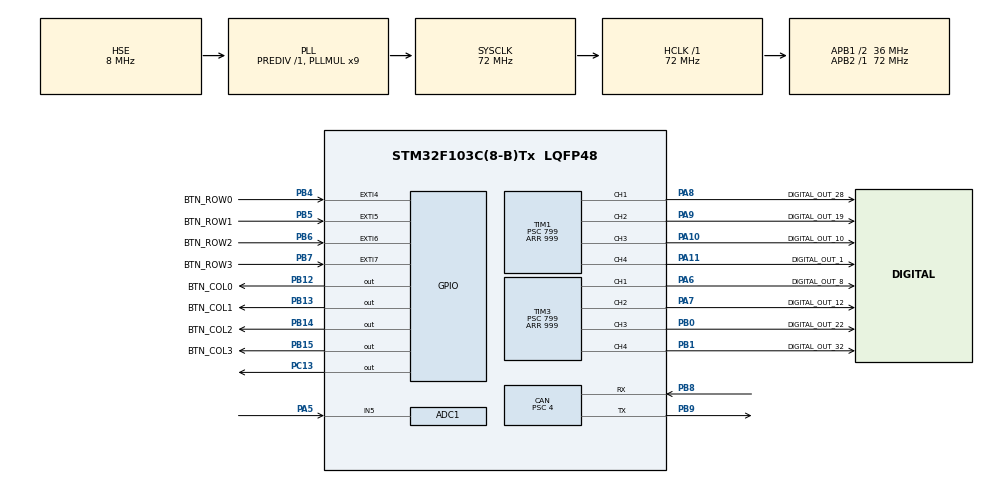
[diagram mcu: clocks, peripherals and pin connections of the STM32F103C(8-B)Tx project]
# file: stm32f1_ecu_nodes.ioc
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Mcu.Family=STM32F1
SH.S_TIM1_CH4.0=TIM1_CH4,PWM Generation4 CH4
ADC1.ContinuousConvMode=ENABLE
PB4.GPIO_ModeDefaultEXTI=GPIO_MODE_IT_FALLING
PB14.GPIO_Label=BTN_COL2
PB6.GPIO_ModeDefaultEXTI=GPIO_MODE_IT_FALLING
PA6.GPIO_Label=DIGITAL_OUT_8
PB0.GPIO_Label=DIGITAL_OUT_22
PB6.GPIO_Label=BTN_ROW2
PB13.GPIO_Label=BTN_COL1
PB7.GPIO_ModeDefaultEXTI=GPIO_MODE_IT_FALLING
PB13.Signal=GPIO_Output
PB15.Signal=GPIO_Output
TIM3.Channel-PWM\ Generation4\ CH4=TIM_CHANNEL_4
RCC.SYSCLKSource=RCC_SYSCLKSOURCE_PLLCLK
ProjectManager.StackSize=0x400
VP_FREERTOS_VS_CMSIS_V2.Mode=CMSIS_V2
PD1-OSC_OUT.Signal=RCC_OSC_OUT
CAN.Prescaler=4
TIM1.Prescaler=799
TIM1.Channel-PWM\ Generation4\ CH4=TIM_CHANNEL_4
ADC1.Channel-3\#ChannelRegularConversion=ADC_CHANNEL_5
RCC.HCLKFreq_Value=72000000
RCC.APB2TimFreq_Value=72000000
TIM3.Period=999
PB6.Signal=GPXTI6
Dma.ADC1.0.Direction=DMA_PERIPH_TO_MEMORY
FREERTOS.configUSE_MALLOC_FAILED_HOOK=1
Dma.ADC1.0.MemDataAlignment=DMA_MDATAALIGN_HALFWORD
RCC.AHBFreq_Value=72000000
TIM3.Channel-PWM\ Generation1\ CH1=TIM_CHANNEL_1
RCC.PLLMUL=RCC_PLL_MUL9
PB12.GPIO_Label=BTN_COL0
TIM1.Channel-PWM\ Generation1\ CH1=TIM_CHANNEL_1
PA14.Mode=Serial_Wire
TIM3.Prescaler=799
PB1.GPIO_Label=DIGITAL_OUT_32
Dma.ADC1.0.PeriphInc=DMA_PINC_DISABLE
CAN.NART=ENABLE
PA10.GPIO_Label=DIGITAL_OUT_10
PB7.Signal=GPXTI7
PA8.Signal=S_TIM1_CH1
SH.S_TIM3_CH1.0=TIM3_CH1,PWM Generation1 CH1
CAN.CalculateTimeQuantum=111.11111111111111
VP_TIM1_VS_ClockSourceINT.Mode=Internal
FREERTOS.configTOTAL_HEAP_SIZE=10000
PB7.GPIO_Label=BTN_ROW3
Mcu.Package=LQFP48
PB9.Signal=CAN_TX
PB1.Signal=S_TIM3_CH4
PA6.Signal=S_TIM3_CH1
NVIC.TimeBase=TIM4_IRQn
NVIC.TimeBaseIP=TIM4
PA10.Signal=S_TIM1_CH3
PB5.GPIO_Label=BTN_ROW1
RCC.APB1TimFreq_Value=72000000
TIM1.Period=999
FREERTOS.configMAX_TASK_NAME_LEN=32
Dma.Request0=ADC1
VP_TIM3_VS_ClockSourceINT.Mode=Internal
PB4.Signal=GPXTI4
PB5.GPIO_ModeDefaultEXTI=GPIO_MODE_IT_FALLING
PB7.GPIO_PuPd=GPIO_PULLUP
RCC.PLLSourceVirtual=RCC_PLLSOURCE_HSE
NVIC.EXTI4_IRQn=true\:5\:0\:false\:false\:true\:true\:true\:true
Dma.ADC1.0.Instance=DMA1_Channel1
FREERTOS.Tasks01=CANRxHandlerTask,24,128,CANRxHandler,Default,NULL,Dynamic,NULL,NULL;CANTxHandlerTask,24,128,CANTxHandler,Default,NULL,Dynamic,NULL,NULL
PD1-OSC_OUT.Mode=HSE-External-Oscillator
CAN.ABOM=DISABLE
CAN.CalculateBaudRate=1000000
PA9.GPIO_Label=DIGITAL_OUT_19
PB6.GPIO_PuPd=GPIO_PULLUP
PB8.GPIO_PuPd=GPIO_PULLUP
PC13-TAMPER-RTC.Signal=GPIO_Output
PA11.GPIO_Label=DIGITAL_OUT_1
PD0-OSC_IN.Signal=RCC_OSC_IN
RCC.APB1CLKDivider=RCC_HCLK_DIV2
SH.S_TIM3_CH3.0=TIM3_CH3,PWM Generation3 CH3
CAN.CalculateTimeBit=999.99
RCC.ADCPresc=RCC_ADCPCLK2_DIV6
PA13.Signal=SYS_JTMS-SWDIO
TIM3.Channel-PWM\ Generation3\ CH3=TIM_CHANNEL_3
Dma.ADC1.0.PeriphDataAlignment=DMA_PDATAALIGN_HALFWORD
CAN.BS2=CAN_BS2_3TQ
PA8.GPIO_Label=DIGITAL_OUT_28
CAN.BS1=CAN_BS1_5TQ
SH.S_TIM1_CH1.0=TIM1_CH1,PWM Generation1 CH1
ProjectManager.TargetToolchain=STM32CubeIDE
Dma.ADC1.0.Mode=DMA_CIRCULAR
PB9.Mode=CAN_Activate
Dma.ADC1.0.Priority=DMA_PRIORITY_LOW
PA9.Signal=S_TIM1_CH2
TIM1.Channel-PWM\ Generation2\ CH2=TIM_CHANNEL_2
PB4.GPIO_PuPd=GPIO_PULLUP
RCC.USBFreq_Value=72000000
CAN.Mode=CAN_MODE_NORMAL
PD0-OSC_IN.Mode=HSE-External-Oscillator
PB14.Signal=GPIO_Output
PA5.Signal=ADCx_IN5
SH.S_TIM3_CH2.0=TIM3_CH2,PWM Generation2 CH2
board=custom
RCC.APB2Freq_Value=72000000
PB4.GPIO_Label=BTN_ROW0
PB15.GPIO_Label=BTN_COL3
SH.S_TIM1_CH2.0=TIM1_CH2,PWM Generation2 CH2
NVIC.USB_LP_CAN1_RX0_IRQn=true\:5\:0\:false\:false\:true\:true\:true\:true
PA13.Mode=Serial_Wire
Mcu.Name=STM32F103C(8-B)Tx
RCC.SYSCLKFreq_VALUE=72000000
PB5.Signal=GPXTI5
PA7.GPIO_Label=DIGITAL_OUT_12
ADC1.master=1
ADC1.Rank-3\#ChannelRegularConversion=1
ADC1.SamplingTime-3\#ChannelRegularConversion=ADC_SAMPLETIME_239CYCLES_5
PB5.GPIO_PuPd=GPIO_PULLUP
PA11.Signal=S_TIM1_CH4
NVIC.EXTI9_5_IRQn=true\:5\:0\:false\:false\:true\:true\:true\:true
PA14.Signal=SYS_JTCK-SWCLK
Dma.ADC1.0.MemInc=DMA_MINC_ENABLE
ProjectManager.HeapSize=0x200
SH.S_TIM1_CH3.0=TIM1_CH3,PWM Generation3 CH3
VP_SYS_VS_tim4.Mode=TIM4
SH.ADCx_IN5.0=ADC1_IN5,IN5
NVIC.PriorityGroup=NVIC_PRIORITYGROUP_4
ADC1.NbrOfConversionFlag=1
TIM3.Channel-PWM\ Generation2\ CH2=TIM_CHANNEL_2
PB8.Mode=CAN_Activate
PB8.Signal=CAN_RX
NVIC.DMA1_Channel1_IRQn=true\:5\:0\:false\:false\:true\:true\:false\:true
TIM1.Channel-PWM\ Generation3\ CH3=TIM_CHANNEL_3
NVIC.TIM4_IRQn=true\:0\:0\:false\:false\:true\:false\:false\:true
RCC.APB1Freq_Value=36000000
PB0.Signal=S_TIM3_CH3
PB12.Signal=GPIO_Output
SH.S_TIM3_CH4.0=TIM3_CH4,PWM Generation4 CH4
PA7.Signal=S_TIM3_CH2

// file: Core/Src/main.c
/* USER CODE BEGIN Header */
/**
  ******************************************************************************
  * @file           : main.c
  * @brief          : Main program body
  ******************************************************************************
  * @attention
  *
  * <h2><center>&copy; Copyright (c) 2025 STMicroelectronics.
  * All rights reserved.</center></h2>
  *
  * This software component is licensed by ST under BSD 3-Clause license,
  * the "License"; You may not use this file except in compliance with the
  * License. You may obtain a copy of the License at:
  *                        opensource.org/licenses/BSD-3-Clause
  *
  ******************************************************************************
  */
/* USER CODE END Header */
#include "main.h"
#include "cmsis_os.h"

/* USER CODE BEGIN Includes */
#include "button.h"
#include "can.h"
#include <stdbool.h>
#include <string.h>
/* USER CODE END Includes */

ADC_HandleTypeDef hadc1;
DMA_HandleTypeDef hdma_adc1;

CAN_HandleTypeDef hcan;

TIM_HandleTypeDef htim1;
TIM_HandleTypeDef htim3;

/* Definitions for CANRxHandlerTask */
osThreadId_t CANRxHandlerTaskHandle;
const osThreadAttr_t CANRxHandlerTask_attributes = {
  .name = "CANRxHandlerTask",
  .stack_size = 128 * 4,
  .priority = (osPriority_t) osPriorityNormal,
};
/* Definitions for CANTxHandlerTask */
osThreadId_t CANTxHandlerTaskHandle;
const osThreadAttr_t CANTxHandlerTask_attributes = {
  .name = "CANTxHandlerTask",
  .stack_size = 128 * 4,
  .priority = (osPriority_t) osPriorityNormal,
};
/* USER CODE BEGIN PV */
uint16_t potentiometer[TEN] = {0};

CAN_Frame canTxQueue[CAN_TX_QUEUE_SIZE];

volatile DigitalOutput_Resp_Frame digital_output_data[NUMBER_OF_DIG_OUT_RES_FRAME] = {0};
volatile DigitalInput_Resp_Frame digital_input_data[NUMBER_OF_DIG_IN_RES_FRAME] = {0};
volatile DigitalOutput_Cmd_Frame digital_output_cmd_data[NUMBER_OF_DIG_OUT_CMD_FRAME] = {0};
volatile AnalogInput_Resp_Frame analog_input_data[NUMBER_OF_ANALOG_IN_RES_FRAME] = {0};

CAN_RxFrame can_rx_frame;

/* USER CODE END PV */

void SystemClock_Config(void);
static void MX_GPIO_Init(void);
static void MX_DMA_Init(void);
static void MX_CAN_Init(void);
static void MX_ADC1_Init(void);
static void MX_TIM1_Init(void);
static void MX_TIM3_Init(void);
void CANRxHandler(void *argument);
void CANTxHandler(void *argument);

/* USER CODE BEGIN PFP */
/**
  * @brief  Process Digital Output Commands
  * @param  cmd_data: Pointer to the Digital Output Command Frame
  *                                   containing the commands to process
  * @retval None
  */
void digital_output_process(DigitalOutput_Cmd_Frame *cmd_data);

/* USER CODE END PFP */

/* USER CODE BEGIN 0 */
void HAL_CAN_RxFifo0MsgPendingCallback(CAN_HandleTypeDef *hcan) {
  HAL_CAN_GetRxMessage(hcan, CAN_RX_FIFO0, &can_rx_frame.header, can_rx_frame.data);
  // Process received CAN message
  CAN_process_command(&can_rx_frame, digital_output_cmd_data);
}

/* USER CODE END 0 */

int main(void)
{

  /* MCU Configuration--------------------------------------------------------*/

  /* Reset of all peripherals, Initializes the Flash interface and the Systick. */
  HAL_Init();

  /* Configure the system clock */
  SystemClock_Config();

  /* Initialize all configured peripherals */
  MX_GPIO_Init();
  MX_DMA_Init();
  MX_CAN_Init();
  MX_ADC1_Init();
  MX_TIM1_Init();
  MX_TIM3_Init();
  /* USER CODE BEGIN 2 */
  HAL_TIM_PWM_Start(&htim1, TIM_CHANNEL_1);
  HAL_TIM_PWM_Start(&htim1, TIM_CHANNEL_2);
  HAL_TIM_PWM_Start(&htim1, TIM_CHANNEL_3);
  HAL_TIM_PWM_Start(&htim1, TIM_CHANNEL_4);
  HAL_TIM_PWM_Start(&htim3, TIM_CHANNEL_1);
  HAL_TIM_PWM_Start(&htim3, TIM_CHANNEL_2);
  HAL_TIM_PWM_Start(&htim3, TIM_CHANNEL_3);
  HAL_TIM_PWM_Start(&htim3, TIM_CHANNEL_4);

  HAL_CAN_Start(&hcan);
  HAL_CAN_ActivateNotification(&hcan, CAN_IT_RX_FIFO0_MSG_PENDING);

  HAL_ADC_Start_DMA(&hadc1, (uint32_t *)potentiometer, TEN);

  /* USER CODE END 2 */

  /* Init scheduler */
  osKernelInitialize();

  /* Create the thread(s) */
  /* creation of CANRxHandlerTask */
  CANRxHandlerTaskHandle = osThreadNew(CANRxHandler, NULL, &CANRxHandlerTask_attributes);

  /* creation of CANTxHandlerTask */
  CANTxHandlerTaskHandle = osThreadNew(CANTxHandler, NULL, &CANTxHandlerTask_attributes);

  /* Start scheduler */
  osKernelStart();

  /* We should never get here as control is now taken by the scheduler */
  /* Infinite loop */
  while (1)
  {

  }
}

void SystemClock_Config(void)
{
  RCC_OscInitTypeDef RCC_OscInitStruct = {0};
  RCC_ClkInitTypeDef RCC_ClkInitStruct = {0};
  RCC_PeriphCLKInitTypeDef PeriphClkInit = {0};

  /** Initializes the RCC Oscillators according to the specified parameters
  * in the RCC_OscInitTypeDef structure.
  */
  RCC_OscInitStruct.OscillatorType = RCC_OSCILLATORTYPE_HSE;
  RCC_OscInitStruct.HSEState = RCC_HSE_ON;
  RCC_OscInitStruct.HSEPredivValue = RCC_HSE_PREDIV_DIV1;
  RCC_OscInitStruct.HSIState = RCC_HSI_ON;
  RCC_OscInitStruct.PLL.PLLState = RCC_PLL_ON;
  RCC_OscInitStruct.PLL.PLLSource = RCC_PLLSOURCE_HSE;
  RCC_OscInitStruct.PLL.PLLMUL = RCC_PLL_MUL9;
  if (HAL_RCC_OscConfig(&RCC_OscInitStruct) != HAL_OK)
  {
    Error_Handler();
  }
  /** Initializes the CPU, AHB and APB buses clocks
  */
  RCC_ClkInitStruct.ClockType = RCC_CLOCKTYPE_HCLK|RCC_CLOCKTYPE_SYSCLK
                              |RCC_CLOCKTYPE_PCLK1|RCC_CLOCKTYPE_PCLK2;
  RCC_ClkInitStruct.SYSCLKSource = RCC_SYSCLKSOURCE_PLLCLK;
  RCC_ClkInitStruct.AHBCLKDivider = RCC_SYSCLK_DIV1;
  RCC_ClkInitStruct.APB1CLKDivider = RCC_HCLK_DIV2;
  RCC_ClkInitStruct.APB2CLKDivider = RCC_HCLK_DIV1;

  if (HAL_RCC_ClockConfig(&RCC_ClkInitStruct, FLASH_LATENCY_2) != HAL_OK)
  {
    Error_Handler();
  }
  PeriphClkInit.PeriphClockSelection = RCC_PERIPHCLK_ADC;
  PeriphClkInit.AdcClockSelection = RCC_ADCPCLK2_DIV6;
  if (HAL_RCCEx_PeriphCLKConfig(&PeriphClkInit) != HAL_OK)
  {
    Error_Handler();
  }
}

static void MX_ADC1_Init(void)
{

  ADC_ChannelConfTypeDef sConfig = {0};

  /** Common config
  */
  hadc1.Instance = ADC1;
  hadc1.Init.ScanConvMode = ADC_SCAN_DISABLE;
  hadc1.Init.ContinuousConvMode = ENABLE;
  hadc1.Init.DiscontinuousConvMode = DISABLE;
  hadc1.Init.ExternalTrigConv = ADC_SOFTWARE_START;
  hadc1.Init.DataAlign = ADC_DATAALIGN_RIGHT;
  hadc1.Init.NbrOfConversion = 1;
  if (HAL_ADC_Init(&hadc1) != HAL_OK)
  {
    Error_Handler();
  }
  /** Configure Regular Channel
  */
  sConfig.Channel = ADC_CHANNEL_5;
  sConfig.Rank = ADC_REGULAR_RANK_1;
  sConfig.SamplingTime = ADC_SAMPLETIME_239CYCLES_5;
  if (HAL_ADC_ConfigChannel(&hadc1, &sConfig) != HAL_OK)
  {
    Error_Handler();
  }

}

static void MX_CAN_Init(void)
{

  hcan.Instance = CAN1;
  hcan.Init.Prescaler = 4;
  hcan.Init.Mode = CAN_MODE_NORMAL;
  hcan.Init.SyncJumpWidth = CAN_SJW_1TQ;
  hcan.Init.TimeSeg1 = CAN_BS1_5TQ;
  hcan.Init.TimeSeg2 = CAN_BS2_3TQ;
  hcan.Init.TimeTriggeredMode = DISABLE;
  hcan.Init.AutoBusOff = DISABLE;
  hcan.Init.AutoWakeUp = DISABLE;
  hcan.Init.AutoRetransmission = ENABLE;
  hcan.Init.ReceiveFifoLocked = DISABLE;
  hcan.Init.TransmitFifoPriority = DISABLE;
  if (HAL_CAN_Init(&hcan) != HAL_OK)
  {
    Error_Handler();
  }
  /* USER CODE BEGIN CAN_Init 2 */
  CAN_FilterTypeDef canfilterconfig;

  canfilterconfig.FilterActivation = CAN_FILTER_ENABLE;
  canfilterconfig.FilterBank = 10;  // anything between 0 to SlaveStartFilterBank
  canfilterconfig.FilterFIFOAssignment = CAN_FILTER_FIFO0;
  canfilterconfig.FilterIdHigh = 0;
  canfilterconfig.FilterIdLow = 0x0000;
  canfilterconfig.FilterMaskIdHigh = 0;
  canfilterconfig.FilterMaskIdLow = 0x0000;
  canfilterconfig.FilterMode = CAN_FILTERMODE_IDMASK;
  canfilterconfig.FilterScale = CAN_FILTERSCALE_32BIT;
  canfilterconfig.SlaveStartFilterBank = 13;  // 13 to 27 are assigned to slave CAN (CAN 2) OR 0 to 12 are assgned to CAN1

  HAL_CAN_ConfigFilter(&hcan, &canfilterconfig);
  /* USER CODE END CAN_Init 2 */

}

static void MX_TIM1_Init(void)
{

  TIM_ClockConfigTypeDef sClockSourceConfig = {0};
  TIM_MasterConfigTypeDef sMasterConfig = {0};
  TIM_OC_InitTypeDef sConfigOC = {0};
  TIM_BreakDeadTimeConfigTypeDef sBreakDeadTimeConfig = {0};

  htim1.Instance = TIM1;
  htim1.Init.Prescaler = 799;
  htim1.Init.CounterMode = TIM_COUNTERMODE_UP;
  htim1.Init.Period = 999;
  htim1.Init.ClockDivision = TIM_CLOCKDIVISION_DIV1;
  htim1.Init.RepetitionCounter = 0;
  htim1.Init.AutoReloadPreload = TIM_AUTORELOAD_PRELOAD_DISABLE;
  if (HAL_TIM_Base_Init(&htim1) != HAL_OK)
  {
    Error_Handler();
  }
  sClockSourceConfig.ClockSource = TIM_CLOCKSOURCE_INTERNAL;
  if (HAL_TIM_ConfigClockSource(&htim1, &sClockSourceConfig) != HAL_OK)
  {
    Error_Handler();
  }
  if (HAL_TIM_PWM_Init(&htim1) != HAL_OK)
  {
    Error_Handler();
  }
  sMasterConfig.MasterOutputTrigger = TIM_TRGO_RESET;
  sMasterConfig.MasterSlaveMode = TIM_MASTERSLAVEMODE_DISABLE;
  if (HAL_TIMEx_MasterConfigSynchronization(&htim1, &sMasterConfig) != HAL_OK)
  {
    Error_Handler();
  }
  sConfigOC.OCMode = TIM_OCMODE_PWM1;
  sConfigOC.Pulse = 0;
  sConfigOC.OCPolarity = TIM_OCPOLARITY_HIGH;
  sConfigOC.OCNPolarity = TIM_OCNPOLARITY_HIGH;
  sConfigOC.OCFastMode = TIM_OCFAST_DISABLE;
  sConfigOC.OCIdleState = TIM_OCIDLESTATE_RESET;
  sConfigOC.OCNIdleState = TIM_OCNIDLESTATE_RESET;
  if (HAL_TIM_PWM_ConfigChannel(&htim1, &sConfigOC, TIM_CHANNEL_1) != HAL_OK)
  {
    Error_Handler();
  }
  if (HAL_TIM_PWM_ConfigChannel(&htim1, &sConfigOC, TIM_CHANNEL_2) != HAL_OK)
  {
    Error_Handler();
  }
  if (HAL_TIM_PWM_ConfigChannel(&htim1, &sConfigOC, TIM_CHANNEL_3) != HAL_OK)
  {
    Error_Handler();
  }
  if (HAL_TIM_PWM_ConfigChannel(&htim1, &sConfigOC, TIM_CHANNEL_4) != HAL_OK)
  {
    Error_Handler();
  }
  sBreakDeadTimeConfig.OffStateRunMode = TIM_OSSR_DISABLE;
  sBreakDeadTimeConfig.OffStateIDLEMode = TIM_OSSI_DISABLE;
  sBreakDeadTimeConfig.LockLevel = TIM_LOCKLEVEL_OFF;
  sBreakDeadTimeConfig.DeadTime = 0;
  sBreakDeadTimeConfig.BreakState = TIM_BREAK_DISABLE;
  sBreakDeadTimeConfig.BreakPolarity = TIM_BREAKPOLARITY_HIGH;
  sBreakDeadTimeConfig.AutomaticOutput = TIM_AUTOMATICOUTPUT_DISABLE;
  if (HAL_TIMEx_ConfigBreakDeadTime(&htim1, &sBreakDeadTimeConfig) != HAL_OK)
  {
    Error_Handler();
  }
  HAL_TIM_MspPostInit(&htim1);

}

static void MX_TIM3_Init(void)
{

  TIM_ClockConfigTypeDef sClockSourceConfig = {0};
  TIM_MasterConfigTypeDef sMasterConfig = {0};
  TIM_OC_InitTypeDef sConfigOC = {0};

  htim3.Instance = TIM3;
  htim3.Init.Prescaler = 799;
  htim3.Init.CounterMode = TIM_COUNTERMODE_UP;
  htim3.Init.Period = 999;
  htim3.Init.ClockDivision = TIM_CLOCKDIVISION_DIV1;
  htim3.Init.AutoReloadPreload = TIM_AUTORELOAD_PRELOAD_DISABLE;
  if (HAL_TIM_Base_Init(&htim3) != HAL_OK)
  {
    Error_Handler();
  }
  sClockSourceConfig.ClockSource = TIM_CLOCKSOURCE_INTERNAL;
  if (HAL_TIM_ConfigClockSource(&htim3, &sClockSourceConfig) != HAL_OK)
  {
    Error_Handler();
  }
  if (HAL_TIM_PWM_Init(&htim3) != HAL_OK)
  {
    Error_Handler();
  }
  sMasterConfig.MasterOutputTrigger = TIM_TRGO_RESET;
  sMasterConfig.MasterSlaveMode = TIM_MASTERSLAVEMODE_DISABLE;
  if (HAL_TIMEx_MasterConfigSynchronization(&htim3, &sMasterConfig) != HAL_OK)
  {
    Error_Handler();
  }
  sConfigOC.OCMode = TIM_OCMODE_PWM1;
  sConfigOC.Pulse = 0;
  sConfigOC.OCPolarity = TIM_OCPOLARITY_HIGH;
  sConfigOC.OCFastMode = TIM_OCFAST_DISABLE;
  if (HAL_TIM_PWM_ConfigChannel(&htim3, &sConfigOC, TIM_CHANNEL_1) != HAL_OK)
  {
    Error_Handler();
  }
  if (HAL_TIM_PWM_ConfigChannel(&htim3, &sConfigOC, TIM_CHANNEL_2) != HAL_OK)
  {
    Error_Handler();
  }
  if (HAL_TIM_PWM_ConfigChannel(&htim3, &sConfigOC, TIM_CHANNEL_3) != HAL_OK)
  {
    Error_Handler();
  }
  if (HAL_TIM_PWM_ConfigChannel(&htim3, &sConfigOC, TIM_CHANNEL_4) != HAL_OK)
  {
    Error_Handler();
  }
  HAL_TIM_MspPostInit(&htim3);

}

static void MX_DMA_Init(void)
{

  /* DMA controller clock enable */
  __HAL_RCC_DMA1_CLK_ENABLE();

  /* DMA interrupt init */
  /* DMA1_Channel1_IRQn interrupt configuration */
  HAL_NVIC_SetPriority(DMA1_Channel1_IRQn, 5, 0);
  HAL_NVIC_EnableIRQ(DMA1_Channel1_IRQn);

}

static void MX_GPIO_Init(void)
{
  GPIO_InitTypeDef GPIO_InitStruct = {0};

  /* GPIO Ports Clock Enable */
  __HAL_RCC_GPIOC_CLK_ENABLE();
  __HAL_RCC_GPIOD_CLK_ENABLE();
  __HAL_RCC_GPIOA_CLK_ENABLE();
  __HAL_RCC_GPIOB_CLK_ENABLE();

  /*Configure GPIO pin Output Level */
  HAL_GPIO_WritePin(GPIOC, GPIO_PIN_13, GPIO_PIN_RESET);

  /*Configure GPIO pin Output Level */
  HAL_GPIO_WritePin(GPIOB, BTN_COL0_Pin|BTN_COL1_Pin|BTN_COL2_Pin|BTN_COL3_Pin, GPIO_PIN_RESET);

  /*Configure GPIO pin : PC13 */
  GPIO_InitStruct.Pin = GPIO_PIN_13;
  GPIO_InitStruct.Mode = GPIO_MODE_OUTPUT_PP;
  GPIO_InitStruct.Pull = GPIO_NOPULL;
  GPIO_InitStruct.Speed = GPIO_SPEED_FREQ_LOW;
  HAL_GPIO_Init(GPIOC, &GPIO_InitStruct);

  /*Configure GPIO pins : BTN_COL0_Pin BTN_COL1_Pin BTN_COL2_Pin BTN_COL3_Pin */
  GPIO_InitStruct.Pin = BTN_COL0_Pin|BTN_COL1_Pin|BTN_COL2_Pin|BTN_COL3_Pin;
  GPIO_InitStruct.Mode = GPIO_MODE_OUTPUT_PP;
  GPIO_InitStruct.Pull = GPIO_NOPULL;
  GPIO_InitStruct.Speed = GPIO_SPEED_FREQ_LOW;
  HAL_GPIO_Init(GPIOB, &GPIO_InitStruct);

  /*Configure GPIO pins : BTN_ROW0_Pin BTN_ROW1_Pin BTN_ROW2_Pin BTN_ROW3_Pin */
  GPIO_InitStruct.Pin = BTN_ROW0_Pin|BTN_ROW1_Pin|BTN_ROW2_Pin|BTN_ROW3_Pin;
  GPIO_InitStruct.Mode = GPIO_MODE_IT_FALLING;
  GPIO_InitStruct.Pull = GPIO_PULLUP;
  HAL_GPIO_Init(GPIOB, &GPIO_InitStruct);

  /* EXTI interrupt init*/
  HAL_NVIC_SetPriority(EXTI4_IRQn, 5, 0);
  HAL_NVIC_EnableIRQ(EXTI4_IRQn);

  HAL_NVIC_SetPriority(EXTI9_5_IRQn, 5, 0);
  HAL_NVIC_EnableIRQ(EXTI9_5_IRQn);

}

/* USER CODE BEGIN 4 */
/**
  * @brief  Process Digital Output Commands
  * @param  cmd_data: Pointer to the Digital Output Command Frame
  *                                   containing the commands to process
  * @retval None
  */
void digital_output_process(DigitalOutput_Cmd_Frame *cmd_data) {
  // Digital Output 1
  if (cmd_data[0].signal[0].switchCmd == 1) {
    TIM1->CCR4 = (cmd_data[0].signal[0].dutyCycle * 10U) - 1U;
  } else {
    TIM1->CCR4 = 0;
  }

  // Digital Output 10
  if (cmd_data[1].signal[1].switchCmd == 1) {
    TIM1->CCR3 = (cmd_data[1].signal[1].dutyCycle * 10U) - 1U;
  } else {
    TIM1->CCR3 = 0;
  }

  // Digital Output 19
  if (cmd_data[2].signal[2].switchCmd == 1) {
    TIM1->CCR2 = (cmd_data[2].signal[2].dutyCycle * 10U) - 1U;
  } else {
    TIM1->CCR2 = 0;
  }

  // Digital Output 28
  if (cmd_data[3].signal[3].switchCmd == 1) {
    TIM1->CCR1 = (cmd_data[3].signal[3].dutyCycle * 10U) - 1U;
  } else {
    TIM1->CCR1 = 0;
  }

  // Digital Output 8
  // if (cmd_data[0].signal[7].switchCmd == 1) {
  //   TIM3->CCR1 = (cmd_data[0].signal[7].dutyCycle * 10U) - 1U;
  // } else {
  //   TIM3->CCR1 = 0;
  // }

  // Digital Output 12
  if (cmd_data[1].signal[3].switchCmd == 1) {
    TIM3->CCR2 = (cmd_data[1].signal[3].dutyCycle * 10U) - 1U;
  } else {
    TIM3->CCR2 = 0;
  }

  // Digital Output 22
  if (cmd_data[2].signal[5].switchCmd == 1) {
    TIM3->CCR3 = (cmd_data[2].signal[5].dutyCycle * 10U) - 1U;
  } else {
    TIM3->CCR3 = 0;
  }

  // Digital Output 32
  if (cmd_data[3].signal[7].switchCmd == 1) {
    TIM3->CCR4 = (cmd_data[3].signal[7].dutyCycle * 10U) - 1U;
  } else {
    TIM3->CCR4 = 0;
  }
}
/* USER CODE END 4 */

void CANRxHandler(void *argument)
{
  /* USER CODE BEGIN 5 */

  btn_matrix_init();
  TIM3->CCR1 = 999; // Initialize PWM duty cycle to 999
  /* Infinite loop */
  for(;;)
  {
    // Process button matrix input
    btn_matrix_process(digital_input_data);
    // Process Digital Output Commands immediately
    digital_output_process(digital_output_cmd_data);

  }
  /* USER CODE END 5 */
}

void CANTxHandler(void *argument)
{
  /* USER CODE BEGIN CANTxHandler */

  // Initialize default values for Digital Output Response
  for (uint8_t i = 0; i < NUMBER_OF_DIG_OUT_RES_FRAME; i++) {
    for (uint8_t j = 0; j < DIGITAL_OUT_RESP_SIGNAL_PER_FRAME; j++) {
      digital_output_data[i].signal[j].statusPS = 0; // Off
      digital_output_data[i].signal[j].elDiagnosis = 0; // OK
      digital_output_data[i].signal[j].currentFB = 5; // 10mA
    }
  }

  // Initialize Digital Input Response Frame
  for (uint8_t i = 0; i < NUMBER_OF_DIG_IN_RES_FRAME; i++) {
    for (uint8_t j = 0; j < DIGITAL_IN_RESP_SIGNAL_PER_FRAME; j++) {
      digital_input_data[i].signal[j].inputStatus = 0; // Off
      digital_input_data[i].signal[j].freshness = 0;
      digital_input_data[i].signal[j].elDiagnosis = 0; // OK
    }
  }

  /* Infinite loop */
  for(;;)
  {
    CAN_Frame tx_frame;
    uint32_t potentiometer_value = 0;

    // Prepare Digital Output Response Frame
    for (uint8_t i = 0; i < NUMBER_OF_DIG_OUT_RES_FRAME; i++) {
      tx_frame.id = DIGITAL_OUTPUT_RES_ID(i);
      memcpy(tx_frame.data, &digital_output_data[i].sdu, sizeof(digital_output_data[i].sdu));
      CAN_EnqueueTxFrame(&tx_frame, canTxQueue);
    }

    // Prepare Digital Input Response Frame
    for (uint8_t i = 0; i < NUMBER_OF_DIG_IN_RES_FRAME; i++) {
      for (uint8_t j = 0; j < DIGITAL_IN_RESP_SIGNAL_PER_FRAME; j++) {
        digital_input_data[i].signal[j].freshness++;
      }
    }
    for (uint8_t i = 0; i < NUMBER_OF_DIG_IN_RES_FRAME; i++){
      tx_frame.id = DIGITAL_INPUT_RES_ID(i);
      memcpy(tx_frame.data, &digital_input_data[i].sdu, sizeof(digital_input_data[i].sdu));
      CAN_EnqueueTxFrame(&tx_frame, canTxQueue);
    }

    // Prepare Analog Input Response Frame
    for (uint8_t i = 0; i < TEN; i++) {
      potentiometer_value += potentiometer[i];
    }
    potentiometer_value /= TEN;
    analog_input_data[0].signal[0].analogValue = potentiometer_value;
    for (uint8_t i = 0; i < NUMBER_OF_ANALOG_IN_RES_FRAME; i++) {
      tx_frame.id = ANALOG_INPUT_RES_ID(i);
      memcpy(tx_frame.data, &analog_input_data[i].sdu, sizeof(analog_input_data[i].sdu));
      CAN_EnqueueTxFrame(&tx_frame, canTxQueue);
    }

    CAN_send(&hcan, canTxQueue);

    osDelay(50);
  }
  /* USER CODE END CANTxHandler */
}

 /**
  * @brief  Period elapsed callback in non blocking mode
  * @note   This function is called  when TIM4 interrupt took place, inside
  * HAL_TIM_IRQHandler(). It makes a direct call to HAL_IncTick() to increment
  * a global variable "uwTick" used as application time base.
  * @param  htim : TIM handle
  * @retval None
  */
void HAL_TIM_PeriodElapsedCallback(TIM_HandleTypeDef *htim)
{
  if (htim->Instance == TIM4) {
    HAL_IncTick();
  }
}

void Error_Handler(void)
{
  __disable_irq();
  while (1)
  {
  }
}

/************************ (C) COPYRIGHT STMicroelectronics *****END OF FILE****/

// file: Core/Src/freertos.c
/* USER CODE BEGIN Header */
/**
  ******************************************************************************
  * File Name          : freertos.c
  * Description        : Code for freertos applications
  ******************************************************************************
  * @attention
  *
  * <h2><center>&copy; Copyright (c) 2025 STMicroelectronics.
  * All rights reserved.</center></h2>
  *
  * This software component is licensed by ST under Ultimate Liberty license
  * SLA0044, the "License"; You may not use this file except in compliance with
  * the License. You may obtain a copy of the License at:
  *                             www.st.com/SLA0044
  *
  ******************************************************************************
  */
/* USER CODE END Header */

#include "FreeRTOS.h"
#include "task.h"
#include "main.h"

/* Hook prototypes */
void vApplicationMallocFailedHook(void);

/* USER CODE BEGIN 5 */
void vApplicationMallocFailedHook(void)
{
   /* vApplicationMallocFailedHook() will only be called if
   configUSE_MALLOC_FAILED_HOOK is set to 1 in FreeRTOSConfig.h. It is a hook
   function that will get called if a call to pvPortMalloc() fails.
   pvPortMalloc() is called internally by the kernel whenever a task, queue,
   timer or semaphore is created. It is also called by various parts of the
   demo application. If heap_1.c or heap_2.c are used, then the size of the
   heap available to pvPortMalloc() is defined by configTOTAL_HEAP_SIZE in
   FreeRTOSConfig.h, and the xPortGetFreeHeapSize() API function can be used
   to query the size of free heap space that remains (although it does not
   provide information on how the remaining heap might be fragmented). */
}
/* USER CODE END 5 */

/************************ (C) COPYRIGHT STMicroelectronics *****END OF FILE****/
